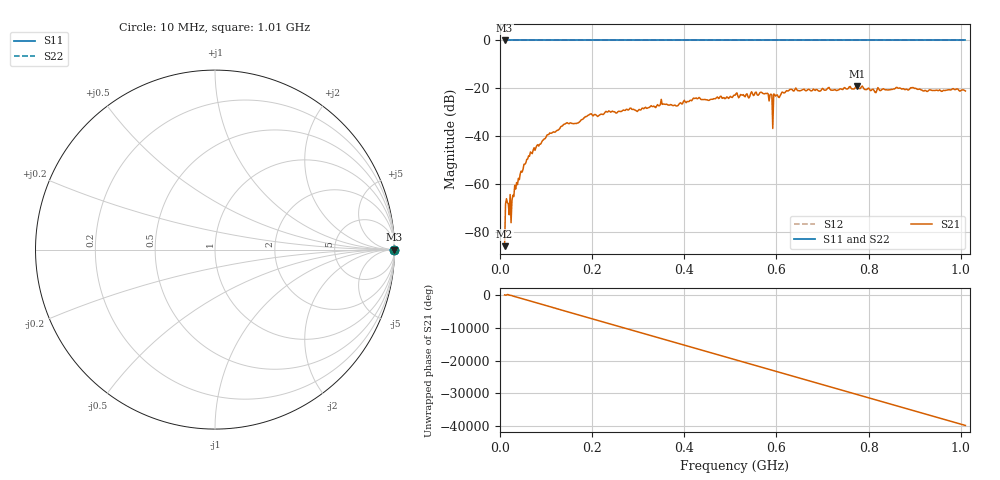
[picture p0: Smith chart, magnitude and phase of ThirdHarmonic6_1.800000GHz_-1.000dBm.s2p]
! 8/16/2025 9:47:28 PM
! C:\ANRITSUVNA\TEMP\TEMP.S2P
! CHANNEL.1
! TR.MEASUREMENT
! RAW.DATA
! RF.CORRECTION.OFF
! AVERAGING.OFF
! IF.BANDWIDTH: 5KHZ
! SWEEPTYPE:  FREQ.SWEEP(Linear)
! Reference Plane Port Info
! PORT:  PORT1  PORT2
! DISTANCE:  0  m  0  m
! TIME:  0  s  0  s
! PHASE.OFFSET:  0  deg.  0  deg.
! LOSS:  0  dB  0  dB
! REF.LOSS:  0  dB  0  dB
! REF.FREQ:  0  Hz  0  Hz
! Power Info
! POWER:  -20  dBm  -20  dBm
! EFF.POWER:  -20  dBm  -20  dBm
! SOURCE.ATTEN:  0  dB  0  dB
! TEST.ATTEN:  0  dB  0  dB
# GHZ S RI R 50.0
! FREQ.GHZ  S11RE  S11IM  S21RE  S21IM  S12RE  S12IM  S22RE  S22IM
!; PortSelection: Port_12
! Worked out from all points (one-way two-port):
!   501 points, 10 MHz to 1.01 GHz, reference 50 ohm
!   highest |S21| = -18.98 dB at 774 MHz (marker M1); lowest = -85.9 dB at 10 MHz (marker M2)
!   lowest |S11| = 0.0 dB at 10 MHz (marker M3)
!   |S11| at or under -10 dB: nowhere
!   |S22| runs from 0.0 to 0.0 dB; largest |S21 - S12| = 1.1
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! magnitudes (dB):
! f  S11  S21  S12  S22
! 10 MHz  0.0  -85.9  0.0  0.0
! 16 MHz  0.0  -67.8  0.0  0.0
! 24 MHz  0.0  -76.1  0.0  0.0
! 36 MHz  0.0  -59.4  0.0  0.0
! 56 MHz  0.0  -51.1  0.0  0.0
! 70 MHz  0.0  -47.3  0.0  0.0
! 106 MHz  0.0  -39.2  0.0  0.0
! 142 MHz  0.0  -34.8  0.0  0.0
! 178 MHz  0.0  -33.0  0.0  0.0
! 194 MHz  0.0  -31.0  0.0  0.0
! 344 MHz  0.0  -27.3  0.0  0.0
! 510 MHz  0.0  -22.9  0.0  0.0
! 578 MHz  0.0  -22.2  0.0  0.0
! 586 MHz  0.0  -22.7  0.0  0.0
! 588 MHz  0.0  -22.4  0.0  0.0
! 596 MHz  0.0  -22.6  0.0  0.0
! 598 MHz  0.0  -23.3  0.0  0.0
! 626 MHz  0.0  -21.0  0.0  0.0
! 678 MHz  0.0  -20.8  0.0  0.0
! 774 MHz  0.0  -19.0  0.0  0.0
! 844 MHz  0.0  -20.6  0.0  0.0
! 1.01 GHz  0.0  -21.1  0.0  0.0
